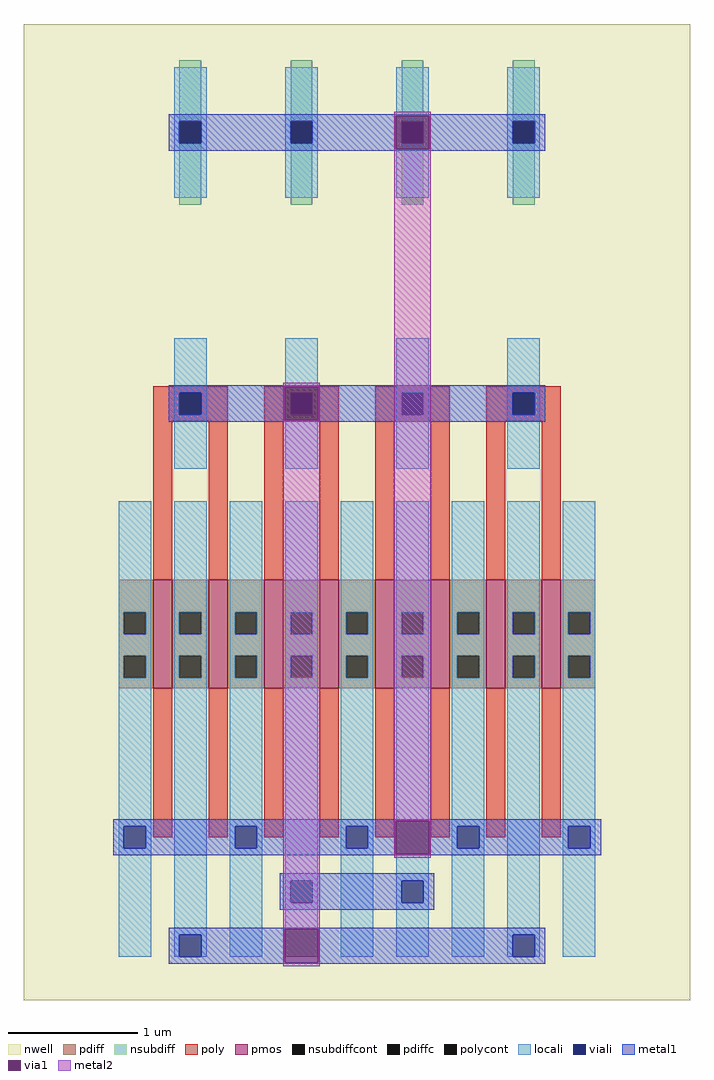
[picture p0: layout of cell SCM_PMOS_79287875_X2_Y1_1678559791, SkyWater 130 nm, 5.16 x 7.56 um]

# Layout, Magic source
magic
tech sky130A
magscale 1 2
<< nwell >>
rect 0 0 1032 1512
<< pmos >>
rect 200 483 230 651
rect 286 483 316 651
rect 372 483 402 651
rect 458 483 488 651
rect 544 483 574 651
rect 630 483 660 651
rect 716 483 746 651
rect 802 483 832 651
<< pdiff >>
rect 147 601 200 651
rect 147 567 155 601
rect 189 567 200 601
rect 147 533 200 567
rect 147 499 155 533
rect 189 499 200 533
rect 147 483 200 499
rect 230 601 286 651
rect 230 567 241 601
rect 275 567 286 601
rect 230 533 286 567
rect 230 499 241 533
rect 275 499 286 533
rect 230 483 286 499
rect 316 601 372 651
rect 316 567 327 601
rect 361 567 372 601
rect 316 533 372 567
rect 316 499 327 533
rect 361 499 372 533
rect 316 483 372 499
rect 402 601 458 651
rect 402 567 413 601
rect 447 567 458 601
rect 402 533 458 567
rect 402 499 413 533
rect 447 499 458 533
rect 402 483 458 499
rect 488 601 544 651
rect 488 567 499 601
rect 533 567 544 601
rect 488 533 544 567
rect 488 499 499 533
rect 533 499 544 533
rect 488 483 544 499
rect 574 601 630 651
rect 574 567 585 601
rect 619 567 630 601
rect 574 533 630 567
rect 574 499 585 533
rect 619 499 630 533
rect 574 483 630 499
rect 660 601 716 651
rect 660 567 671 601
rect 705 567 716 601
rect 660 533 716 567
rect 660 499 671 533
rect 705 499 716 533
rect 660 483 716 499
rect 746 601 802 651
rect 746 567 757 601
rect 791 567 802 601
rect 746 533 802 567
rect 746 499 757 533
rect 791 499 802 533
rect 746 483 802 499
rect 832 601 885 651
rect 832 567 843 601
rect 877 567 885 601
rect 832 533 885 567
rect 832 499 843 533
rect 877 499 885 533
rect 832 483 885 499
<< pdiffc >>
rect 155 567 189 601
rect 155 499 189 533
rect 241 567 275 601
rect 241 499 275 533
rect 327 567 361 601
rect 327 499 361 533
rect 413 567 447 601
rect 413 499 447 533
rect 499 567 533 601
rect 499 499 533 533
rect 585 567 619 601
rect 585 499 619 533
rect 671 567 705 601
rect 671 499 705 533
rect 757 567 791 601
rect 757 499 791 533
rect 843 567 877 601
rect 843 499 877 533
<< nsubdiff >>
rect 241 1361 275 1456
rect 241 1232 275 1327
rect 413 1361 447 1456
rect 413 1232 447 1327
rect 585 1361 619 1456
rect 585 1232 619 1327
rect 757 1361 791 1456
rect 757 1232 791 1327
<< nsubdiffcont >>
rect 241 1327 275 1361
rect 413 1327 447 1361
rect 585 1327 619 1361
rect 757 1327 791 1361
<< poly >>
rect 200 941 316 951
rect 200 907 241 941
rect 275 907 316 941
rect 200 897 316 907
rect 200 651 230 897
rect 286 651 316 897
rect 372 941 488 951
rect 372 907 413 941
rect 447 907 488 941
rect 372 897 488 907
rect 372 651 402 897
rect 458 651 488 897
rect 544 941 660 951
rect 544 907 585 941
rect 619 907 660 941
rect 544 897 660 907
rect 544 651 574 897
rect 630 651 660 897
rect 716 941 832 951
rect 716 907 757 941
rect 791 907 832 941
rect 716 897 832 907
rect 716 651 746 897
rect 802 651 832 897
rect 200 252 230 483
rect 286 252 316 483
rect 372 252 402 483
rect 458 252 488 483
rect 544 252 574 483
rect 630 252 660 483
rect 716 252 746 483
rect 802 252 832 483
<< polycont >>
rect 241 907 275 941
rect 413 907 447 941
rect 585 907 619 941
rect 757 907 791 941
<< locali >>
rect 233 1361 283 1445
rect 233 1327 241 1361
rect 275 1327 283 1361
rect 233 1243 283 1327
rect 405 1361 455 1445
rect 405 1327 413 1361
rect 447 1327 455 1361
rect 405 1243 455 1327
rect 577 1361 627 1445
rect 577 1327 585 1361
rect 619 1327 627 1361
rect 577 1243 627 1327
rect 749 1361 799 1445
rect 749 1327 757 1361
rect 791 1327 799 1361
rect 749 1243 799 1327
rect 233 941 283 1025
rect 233 907 241 941
rect 275 907 283 941
rect 233 823 283 907
rect 405 941 455 1025
rect 405 907 413 941
rect 447 907 455 941
rect 405 823 455 907
rect 577 941 627 1025
rect 577 907 585 941
rect 619 907 627 941
rect 577 823 627 907
rect 749 941 799 1025
rect 749 907 757 941
rect 791 907 799 941
rect 749 823 799 907
rect 147 601 197 773
rect 147 567 155 601
rect 189 567 197 601
rect 147 533 197 567
rect 147 499 155 533
rect 189 499 197 533
rect 147 269 197 499
rect 147 235 155 269
rect 189 235 197 269
rect 147 67 197 235
rect 233 601 283 773
rect 233 567 241 601
rect 275 567 283 601
rect 233 533 283 567
rect 233 499 241 533
rect 275 499 283 533
rect 233 101 283 499
rect 233 67 241 101
rect 275 67 283 101
rect 319 601 369 773
rect 319 567 327 601
rect 361 567 369 601
rect 319 533 369 567
rect 319 499 327 533
rect 361 499 369 533
rect 319 269 369 499
rect 319 235 327 269
rect 361 235 369 269
rect 319 67 369 235
rect 405 601 455 773
rect 405 567 413 601
rect 447 567 455 601
rect 405 533 455 567
rect 405 499 413 533
rect 447 499 455 533
rect 405 185 455 499
rect 405 151 413 185
rect 447 151 455 185
rect 405 67 455 151
rect 491 601 541 773
rect 491 567 499 601
rect 533 567 541 601
rect 491 533 541 567
rect 491 499 499 533
rect 533 499 541 533
rect 491 269 541 499
rect 491 235 499 269
rect 533 235 541 269
rect 491 67 541 235
rect 577 601 627 773
rect 577 567 585 601
rect 619 567 627 601
rect 577 533 627 567
rect 577 499 585 533
rect 619 499 627 533
rect 577 185 627 499
rect 577 151 585 185
rect 619 151 627 185
rect 577 67 627 151
rect 663 601 713 773
rect 663 567 671 601
rect 705 567 713 601
rect 663 533 713 567
rect 663 499 671 533
rect 705 499 713 533
rect 663 269 713 499
rect 663 235 671 269
rect 705 235 713 269
rect 663 67 713 235
rect 749 601 799 773
rect 749 567 757 601
rect 791 567 799 601
rect 749 533 799 567
rect 749 499 757 533
rect 791 499 799 533
rect 749 101 799 499
rect 749 67 757 101
rect 791 67 799 101
rect 835 601 885 773
rect 835 567 843 601
rect 877 567 885 601
rect 835 533 885 567
rect 835 499 843 533
rect 877 499 885 533
rect 835 269 885 499
rect 835 235 843 269
rect 877 235 885 269
rect 835 67 885 235
<< viali >>
rect 241 1327 275 1361
rect 413 1327 447 1361
rect 585 1327 619 1361
rect 757 1327 791 1361
rect 241 907 275 941
rect 413 907 447 941
rect 585 907 619 941
rect 757 907 791 941
rect 155 235 189 269
rect 241 67 275 101
rect 327 235 361 269
rect 413 151 447 185
rect 499 235 533 269
rect 585 151 619 185
rect 671 235 705 269
rect 757 67 791 101
rect 843 235 877 269
<< metal1 >>
rect 224 1370 808 1372
rect 224 1361 576 1370
rect 628 1361 808 1370
rect 224 1327 241 1361
rect 275 1327 413 1361
rect 447 1327 576 1361
rect 628 1327 757 1361
rect 791 1327 808 1361
rect 224 1318 576 1327
rect 628 1318 808 1327
rect 224 1316 808 1318
rect 224 950 808 952
rect 224 941 404 950
rect 456 941 808 950
rect 224 907 241 941
rect 275 907 404 941
rect 456 907 585 941
rect 619 907 757 941
rect 791 907 808 941
rect 224 898 404 907
rect 456 898 808 907
rect 224 896 808 898
rect 138 278 894 280
rect 138 269 576 278
rect 138 235 155 269
rect 189 235 327 269
rect 361 235 499 269
rect 533 235 576 269
rect 138 226 576 235
rect 628 269 894 278
rect 628 235 671 269
rect 705 235 843 269
rect 877 235 894 269
rect 628 226 894 235
rect 138 224 894 226
rect 396 185 636 196
rect 396 151 413 185
rect 447 151 585 185
rect 619 151 636 185
rect 396 140 636 151
rect 224 110 808 112
rect 224 101 404 110
rect 224 67 241 101
rect 275 67 404 101
rect 224 58 404 67
rect 456 101 808 110
rect 456 67 757 101
rect 791 67 808 101
rect 456 58 808 67
rect 224 56 808 58
<< via1 >>
rect 576 1361 628 1370
rect 576 1327 585 1361
rect 585 1327 619 1361
rect 619 1327 628 1361
rect 576 1318 628 1327
rect 404 941 456 950
rect 404 907 413 941
rect 413 907 447 941
rect 447 907 456 941
rect 404 898 456 907
rect 576 226 628 278
rect 404 58 456 110
<< metal2 >>
rect 574 1370 630 1376
rect 574 1318 576 1370
rect 628 1318 630 1370
rect 402 950 458 956
rect 402 898 404 950
rect 456 898 458 950
rect 402 110 458 898
rect 574 278 630 1318
rect 574 226 576 278
rect 628 226 630 278
rect 574 220 630 226
rect 402 58 404 110
rect 456 58 458 110
rect 402 52 458 58
<< end >>
